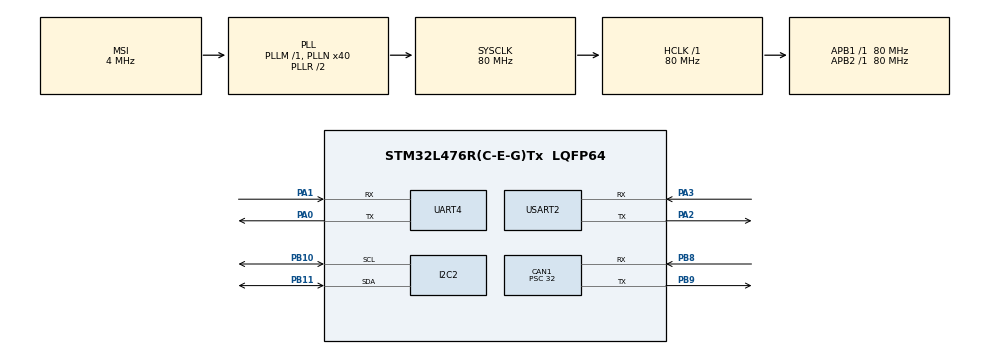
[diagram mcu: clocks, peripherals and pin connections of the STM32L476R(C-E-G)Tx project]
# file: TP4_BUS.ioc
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CAN1.BS1=CAN_BS1_3TQ
CAN1.CalculateBaudRate=500000
CAN1.CalculateTimeBit=2000.00
CAN1.CalculateTimeQuantum=400.0
CAN1.Prescaler=32
I2C2.Timing=0x10909CEC
Mcu.Family=STM32L4
Mcu.Name=STM32L476R(C-E-G)Tx
Mcu.Package=LQFP64
NVIC.PriorityGroup=NVIC_PRIORITYGROUP_4
NVIC.UART4_IRQn=true\:0\:0\:false\:false\:true\:true\:true
NVIC.USART2_IRQn=true\:0\:0\:false\:false\:true\:true\:true
PA0.Mode=Asynchronous
PA0.Signal=UART4_TX
PA1.Mode=Asynchronous
PA1.Signal=UART4_RX
PA2.Mode=Asynchronous
PA2.Signal=USART2_TX
PA3.Mode=Asynchronous
PA3.Signal=USART2_RX
PB10.Mode=I2C
PB10.Signal=I2C2_SCL
PB11.Mode=I2C
PB11.Signal=I2C2_SDA
PB8.Mode=CAN_Activate
PB8.Signal=CAN1_RX
PB9.Mode=CAN_Activate
PB9.Signal=CAN1_TX
ProjectManager.HeapSize=0x200
ProjectManager.StackSize=0x400
ProjectManager.TargetToolchain=STM32CubeIDE
RCC.AHBFreq_Value=80000000
RCC.APB1Freq_Value=80000000
RCC.APB1TimFreq_Value=80000000
RCC.APB2Freq_Value=80000000
RCC.APB2TimFreq_Value=80000000
RCC.CortexFreq_Value=80000000
RCC.HCLKFreq_Value=80000000
RCC.HSE_VALUE=8000000
RCC.HSI_VALUE=16000000
RCC.LSE_VALUE=32768
RCC.MSI_VALUE=4000000
RCC.PLLN=40
RCC.SYSCLKFreq_VALUE=80000000
RCC.SYSCLKSource=RCC_SYSCLKSOURCE_PLLCLK
RCC.VCOOutputFreq_Value=160000000
USART2.VirtualMode-Asynchronous=VM_ASYNC
board=custom

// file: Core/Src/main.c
/* USER CODE BEGIN Header */
/**
 ******************************************************************************
 * @file           : main.c
 * @brief          : Main program body
 ******************************************************************************
 * @attention
 *
 * <h2><center>&copy; Copyright (c) 2021 STMicroelectronics.
 * All rights reserved.</center></h2>
 *
 * This software component is licensed by ST under BSD 3-Clause license,
 * the "License"; You may not use this file except in compliance with the
 * License. You may obtain a copy of the License at:
 *                        opensource.org/licenses/BSD-3-Clause
 *
 ******************************************************************************
 */
/* USER CODE END Header */
#include "main.h"
#include "can.h"
#include "i2c.h"
#include "usart.h"
#include "gpio.h"

/* USER CODE BEGIN PV */
char echo[1];
int uart_it = 0;
int i = 0;
char Commande[100];
int K=1;
int temperature=0;
int sens=0;

uint8_t commandeCAN[2]={90,0};
uint32_t boiteauxlettre=0;
/* USER CODE END PV */

void SystemClock_Config(void);

int main(void)
{
  /* USER CODE BEGIN 1 */
	HAL_StatusTypeDef HAL_CAN_Start (CAN_HandleTypeDef * hcan1);
  /* USER CODE END 1 */

  /* MCU Configuration--------------------------------------------------------*/

  /* Reset of all peripherals, Initializes the Flash interface and the Systick. */
  HAL_Init();

  /* Configure the system clock */
  SystemClock_Config();

  /* Initialize all configured peripherals */
  MX_GPIO_Init();
  MX_CAN1_Init();
  MX_USART2_UART_Init();
  MX_UART4_Init();
  MX_I2C2_Init();
  /* USER CODE BEGIN 2 */
	printf("\r\n========== TP2 : Bus et Réseaux ==========\r\n");
	Set_config();
	Get_calib();

	HAL_CAN_Start(&hcan1);

    CAN_TxHeaderTypeDef headerCAN;
	headerCAN.StdId = 0x61;
	headerCAN.ExtId =0;
	headerCAN.IDE =CAN_ID_STD;
	headerCAN.RTR =CAN_RTR_DATA;
	headerCAN.DLC =2;
	headerCAN.TransmitGlobalTime =DISABLE;
  /* USER CODE END 2 */

  /* Infinite loop */
  /* USER CODE BEGIN WHILE */
	HAL_UART_Receive_IT(&huart2, (uint8_t *) echo, 1);
	HAL_UART_Receive_IT(&huart4, (uint8_t *) echo, 1);
	Ligne_Init(&huart2);
	Ligne_Init(&huart4);
	while (1)
	{
		if (uart_it==1)
		{
			HAL_UART_Transmit(&huart2, (uint8_t *) echo, 1, 0xFFFF);
			HAL_UART_Transmit(&huart4, (uint8_t *) echo, 1, 0xFFFF);
			//Exécution de la commande après appui sur la touche entrer
			if (echo[0]==ENTER){
				Commande_exec(i);
				i=0;
				Ligne_Init(&huart2);
				Ligne_Init(&huart4);
			}else{
				//Suppression d'un caractère après appui sur la touche delete
				if((echo[0]==DEL)&&(i>0)){
					Commande[i-1]=0;
					i=i-1;
				}else{
					//Ecriture de la commande dans un buffer
					Commande[i]= echo[0];
					i=i+1;
				}
			}
			uart_it=0;
		}

		if (HAL_OK== HAL_CAN_AddTxMessage (&hcan1, &headerCAN,  commandeCAN, &boiteauxlettre)){
			temperature=(uint32_t)Get_T;

			//commandeCAN[0]=K*temperature;
			sens++;
			commandeCAN[1]=sens%2;
			//HAL_Delay(1000);
		     }

//		if(HAL_OK== HAL_CAN_AddTxMessage (&hcan1, &headerCAN,  commandeCAN,&boiteauxlettre)){
//			commandeCAN[1]=0;
//			 HAL_Delay(1000);
		}
    /* USER CODE END WHILE */

	}

void SystemClock_Config(void)
{
  RCC_OscInitTypeDef RCC_OscInitStruct = {0};
  RCC_ClkInitTypeDef RCC_ClkInitStruct = {0};

  /** Configure the main internal regulator output voltage
  */
  if (HAL_PWREx_ControlVoltageScaling(PWR_REGULATOR_VOLTAGE_SCALE1) != HAL_OK)
  {
    Error_Handler();
  }
  /** Initializes the RCC Oscillators according to the specified parameters
  * in the RCC_OscInitTypeDef structure.
  */
  RCC_OscInitStruct.OscillatorType = RCC_OSCILLATORTYPE_MSI;
  RCC_OscInitStruct.MSIState = RCC_MSI_ON;
  RCC_OscInitStruct.MSICalibrationValue = 0;
  RCC_OscInitStruct.MSIClockRange = RCC_MSIRANGE_6;
  RCC_OscInitStruct.PLL.PLLState = RCC_PLL_ON;
  RCC_OscInitStruct.PLL.PLLSource = RCC_PLLSOURCE_MSI;
  RCC_OscInitStruct.PLL.PLLM = 1;
  RCC_OscInitStruct.PLL.PLLN = 40;
  RCC_OscInitStruct.PLL.PLLP = RCC_PLLP_DIV7;
  RCC_OscInitStruct.PLL.PLLQ = RCC_PLLQ_DIV2;
  RCC_OscInitStruct.PLL.PLLR = RCC_PLLR_DIV2;
  if (HAL_RCC_OscConfig(&RCC_OscInitStruct) != HAL_OK)
  {
    Error_Handler();
  }
  /** Initializes the CPU, AHB and APB buses clocks
  */
  RCC_ClkInitStruct.ClockType = RCC_CLOCKTYPE_HCLK|RCC_CLOCKTYPE_SYSCLK
                              |RCC_CLOCKTYPE_PCLK1|RCC_CLOCKTYPE_PCLK2;
  RCC_ClkInitStruct.SYSCLKSource = RCC_SYSCLKSOURCE_PLLCLK;
  RCC_ClkInitStruct.AHBCLKDivider = RCC_SYSCLK_DIV1;
  RCC_ClkInitStruct.APB1CLKDivider = RCC_HCLK_DIV1;
  RCC_ClkInitStruct.APB2CLKDivider = RCC_HCLK_DIV1;

  if (HAL_RCC_ClockConfig(&RCC_ClkInitStruct, FLASH_LATENCY_4) != HAL_OK)
  {
    Error_Handler();
  }
}

/* USER CODE BEGIN 4 */

void HAL_UART_RxCpltCallback(UART_HandleTypeDef* huart)
{
	uart_it=1;
	if(huart->Instance==UART4){
		HAL_UART_Receive_IT(&huart4, (uint8_t *) echo, 1);
	}else{
		HAL_UART_Receive_IT(&huart2, (uint8_t *) echo, 1);
	}
}

/* USER CODE END 4 */

void Error_Handler(void)
{
	__disable_irq();
	while (1)
	{
	}
}

/************************ (C) COPYRIGHT STMicroelectronics *****END OF FILE****/
